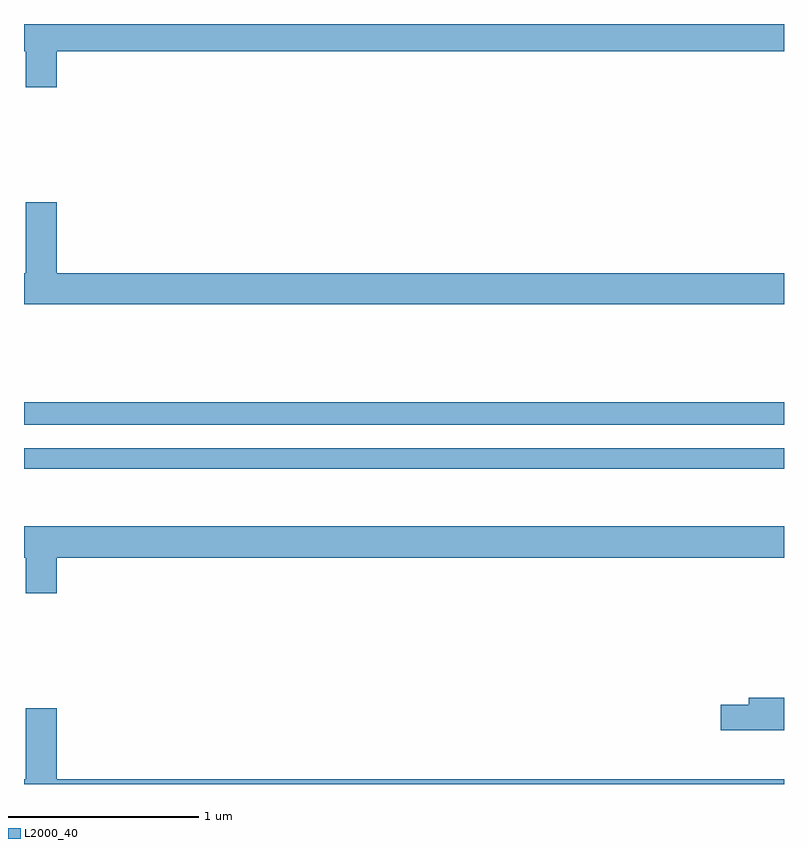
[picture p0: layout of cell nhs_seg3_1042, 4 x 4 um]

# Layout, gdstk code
import gdstk
lib = gdstk.Library(unit=1e-6, precision=1e-09)
def R(c, l, rs):  # rectangles x0, y0, x1, y1
    for r in rs: c.add(gdstk.rectangle(r[:2], r[2:], *l))
def P(c, l, *ps):  # polygons
    for p in ps: c.add(gdstk.Polygon(p, *l))
L2000_40 = (2000, 40)

nhs_seg3_1042 = lib.new_cell('nhs_seg3_1042')
R(nhs_seg3_1042, L2000_40, [(165,692.058,169,692.166), (165,692.292,169,692.408)])
P(nhs_seg3_1042, L2000_40, [(165.172,694.256),(169,694.256),(169,694.4),(165,694.4),(165,694.256),(165.008,694.256),(165.008,694.068),(165.172,694.068)],
  [(169,693.088),(165.172,693.088),(165.172,693.463),(165.008,693.463),(165.008,693.088),(165,693.088),(165,692.924),(169,692.924)],
  [(165.172,691.592),(169,691.592),(169,691.756),(165,691.756),(165,691.592),(165.008,691.592),(165.008,691.404),(165.172,691.404)],
  [(169,690.854),(168.815,690.854),(168.815,690.818),(168.666,690.818),(168.666,690.683),(169,690.683)],
  [(169,690.424),(165.172,690.424),(165.172,690.799),(165.008,690.799),(165.008,690.424),(165,690.424),(165,690.4),(169,690.4)])

lib.write_gds('nhs_seg3_1042.gds')
